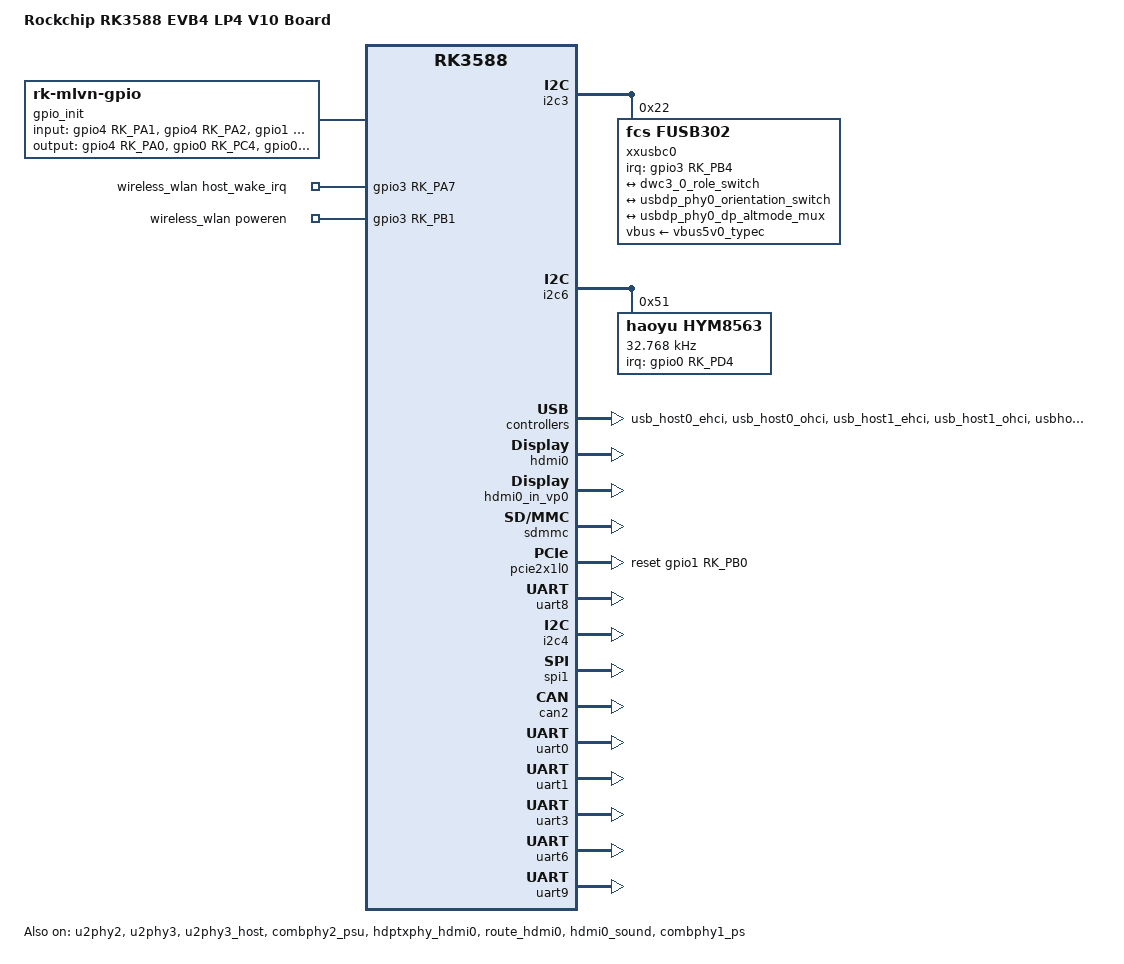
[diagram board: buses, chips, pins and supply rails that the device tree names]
// SPDX-License-Identifier: (GPL-2.0+ OR MIT)
/*
 * Copyright (c) 2021 Rockchip Electronics Co., Ltd.
 *
 */

/dts-v1/;

#include "rk3588-evb4-lp4.dtsi"
#include "rk3588-linux.dtsi"
#include "rk3588-evb4-ov8856-ov13855.dtsi"

/ {
	model = "Rockchip RK3588 EVB4 LP4 V10 Board";
	compatible = "rockchip,rk3588-evb4-lp4-v10", "rockchip,rk3588";

    gpio_init: gpio-init {
		status = "okay";
		compatible = "rk-mlvn-gpio";

		pinctrl-names = "default";
		pinctrl-0 = <&init_gpio>;

		input-gpio = <&gpio4 RK_PA1 GPIO_ACTIVE_HIGH>,
			     <&gpio4 RK_PA2 GPIO_ACTIVE_HIGH>,
			     <&gpio1 RK_PA7 GPIO_ACTIVE_HIGH>;

		output-gpio = <&gpio4 RK_PA0 GPIO_ACTIVE_HIGH>,
			      <&gpio0 RK_PC4 GPIO_ACTIVE_HIGH>,
			      <&gpio0 RK_PD5 GPIO_ACTIVE_HIGH>;

		//mlvn-gpio = <&gpio3 RK_PA4 GPIO_ACTIVE_HIGH>, /* HUB_RST */
		//	    <&gpio3 RK_PC5 GPIO_ACTIVE_LOW>; /*  */

		//mlvn-reset-gpio = <&gpio2 26 GPIO_ACTIVE_LOW>; /* MINIPCIE_RST */

		//breath-led = <&gpio1 RK_PC4 GPIO_ACTIVE_HIGH>;
	};


    wireless_bluetooth: wireless-bluetooth {
		compatible = "bluetooth-platdata";
		//clocks = <&hym8563>;
		//clock-names = "ext_clock";
		uart_rts_gpios = <&gpio3 RK_PA4 GPIO_ACTIVE_LOW>;
		pinctrl-names = "default", "rts_gpio";
		pinctrl-0 = <&uart8m1_rtsn>, <&bt_reset_gpio>, <&bt_wake_gpio>, <&bt_irq_gpio>;
		pinctrl-1 = <&uart8_gpios>;
		BT,reset_gpio    = <&gpio3 RK_PA6 GPIO_ACTIVE_HIGH>;
		BT,wake_gpio     = <&gpio3 RK_PA1 GPIO_ACTIVE_HIGH>;
		BT,wake_host_irq = <&gpio3 RK_PA0 GPIO_ACTIVE_HIGH>;
		status = "disabled";
	};

	wireless_wlan: wireless-wlan {
		compatible = "wlan-platdata";
		wifi_chip_type = "ap6275p";
		pinctrl-names = "default";
		pinctrl-0 = <&wifi_host_wake_irq>, <&wifi_poweren_gpio>;
		WIFI,host_wake_irq = <&gpio3 RK_PA7 GPIO_ACTIVE_HIGH>;
		WIFI,poweren_gpio = <&gpio3 RK_PB1 GPIO_ACTIVE_HIGH>;
		status = "okay";
	};
};

&vbus5v0_typec {
    gpio = <&gpio1 RK_PC6 GPIO_ACTIVE_HIGH>;
};

&vcc5v0_host {
    gpio = <&gpio0 RK_PA0 GPIO_ACTIVE_HIGH>;
};

&dp0 {
	status = "disabled";
};

&dp0_in_vp2 {
	status = "disabled";
};

&dsi0 {
	status = "disabled";
};

&dsi0_in_vp2 {
	status = "disabled";
};

&dsi0_in_vp3 {
	status = "disabled";
};

&i2c8 {
    status = "disabled";
    /delete-node/ usbc0;
    /delete-node/ usbc0_role_sw;
    /delete-node/ usbc0_orien_sw;
    /delete-node/ dp_altmode_mux;
};

&i2c3 {
	status = "okay";
	pinctrl-names = "default";
	pinctrl-0 = <&i2c3m0_xfer>;

	xxusbc0: fusb302@22 {
		compatible = "fcs,fusb302";
		reg = <0x22>;
		interrupt-parent = <&gpio3>;
		interrupts = <RK_PB4 IRQ_TYPE_LEVEL_LOW>;
		pinctrl-names = "default";
		pinctrl-0 = <&usbc0_int>;
		vbus-supply = <&vbus5v0_typec>;
		status = "okay";

		ports {
			#address-cells = <1>;
			#size-cells = <0>;

			port@0 {
				reg = <0>;
				xxusbc0_role_sw: endpoint@0 {
					remote-endpoint = <&dwc3_0_role_switch>;
				};
			};
		};

		xxusb_con: connector {
			compatible = "usb-c-connector";
			label = "USB-C";
			data-role = "dual";
			power-role = "dual";
			try-power-role = "sink";
			op-sink-microwatt = <1000000>;
			sink-pdos =
				<PDO_FIXED(5000, 1000, PDO_FIXED_USB_COMM)>;
			source-pdos =
				<PDO_FIXED(5000, 3000, PDO_FIXED_USB_COMM)>;

			altmodes {
				#address-cells = <1>;
				#size-cells = <0>;

				altmode@0 {
					reg = <0>;
					svid = <0xff01>;
					vdo = <0xffffffff>;
				};
			};

			ports {
				#address-cells = <1>;
				#size-cells = <0>;

				port@0 {
					reg = <0>;
					xxusbc0_orien_sw: endpoint {
						remote-endpoint = <&usbdp_phy0_orientation_switch>;
					};
				};

				port@1 {
					reg = <1>;
					xxdp_altmode_mux: endpoint {
						remote-endpoint = <&usbdp_phy0_dp_altmode_mux>;
					};
				};
			};
		};
	};
};

&i2c6 {
    hym8563: hym8563@51 {
		compatible = "haoyu,hym8563";
		reg = <0x51>;
		#clock-cells = <0>;
		clock-frequency = <32768>;
		clock-output-names = "hym8563";
		pinctrl-names = "default";
		pinctrl-0 = <&hym8563_int>;
		interrupt-parent = <&gpio0>;
		interrupts = <RK_PD4 IRQ_TYPE_LEVEL_LOW>;
		wakeup-source;
	};
};

&mipi_dcphy0 {
	status = "disabled";
};

&pcie30phy {
	status = "disabled";
};

&pcie3x4 {
	status = "disabled";
};


&pinctrl{
    hym8563 {
		hym8563_int: hym8563-int {
			rockchip,pins = <0 RK_PD4 RK_FUNC_GPIO &pcfg_pull_up>;
		};
	};

	gpio_init {
		init_gpio: init-gpio {
			rockchip,pins =
				<0 RK_PC4 RK_FUNC_GPIO &pcfg_pull_up_drv_level_15>,
				<4 RK_PA0 RK_FUNC_GPIO &pcfg_pull_up_drv_level_15>;
		};
	};
    	usb {
		vcc5v0_host_en: vcc5v0-host-en {
			rockchip,pins = <0 RK_PA0 RK_FUNC_GPIO &pcfg_pull_none>;
		};
	};

	usb-typec {
		usbc0_int: usbc0-int {
			rockchip,pins = <3 RK_PB4 RK_FUNC_GPIO &pcfg_pull_up>;
		};

		typec5v_pwren: typec5v-pwren {
			rockchip,pins = <1 RK_PC6 RK_FUNC_GPIO &pcfg_pull_none>;
		};
	};

	wireless-bluetooth {
		uart8_gpios: uart8-gpios {
			rockchip,pins = <3 RK_PA4 RK_FUNC_GPIO &pcfg_pull_none>;
		};

		bt_reset_gpio: bt-reset-gpio {
			rockchip,pins = <3 RK_PA6 RK_FUNC_GPIO &pcfg_pull_none>;
		};

		bt_wake_gpio: bt-wake-gpio {
			rockchip,pins = <3 RK_PA1 RK_FUNC_GPIO &pcfg_pull_none>;
		};

		bt_irq_gpio: bt-irq-gpio {
			rockchip,pins = <3 RK_PA0 RK_FUNC_GPIO &pcfg_pull_none>;
		};
	};

	wireless-wlan {
		wifi_host_wake_irq: wifi-host-wake-irq {
			rockchip,pins = <3 RK_PA7 RK_FUNC_GPIO &pcfg_pull_down>;
		};

		wifi_poweren_gpio: wifi-poweren-gpio {
			rockchip,pins = <3 RK_PB1 RK_FUNC_GPIO &pcfg_pull_up>;
		};
	};
};

&pwm3 {
	status = "disabled";
};

&pwm14 {
	pinctrl-0 = <&pwm14m1_pins>;
	status = "disabled";
};

&route_dsi0 {
	status = "disabled";
	connect = <&vp3_out_dsi0>;
};

&u2phy2 {
	status = "okay";
};

&u2phy3 {
	status = "okay";
};

&u2phy3_host {
	status = "okay";
};

&usb_host0_ehci {
	status = "okay";
};

&usb_host0_ohci {
	status = "okay";
};

&usb_host1_ehci {
	status = "okay";
};

&usb_host1_ohci {
	status = "okay";
};

&u2phy0_otg {
	rockchip,typec-vbus-det;
};

&usbhost3_0 {
	status = "okay";
};

&usbhost_dwc3_0 {
	status = "okay";
};

&combphy2_psu {
	status = "okay";
};


&hdmi0 {
	//enable-gpios = <&gpio4 RK_PB1 GPIO_ACTIVE_HIGH>;
	pinctrl-0 = <&hdmim0_tx0_cec &hdmim0_tx0_hpd &hdmim0_tx0_scl &hdmim0_tx0_sda>;
	status = "okay";
};

&hdmi0_in_vp0 {
	status = "okay";
};

&hdptxphy_hdmi0 {
	status = "okay";
};

&route_hdmi0 {
	status = "okay";
	connect = <&vp0_out_hdmi0>;
};

&hdmi0_sound {
	status = "okay";
};

&sdmmc {
	status = "okay";
};

&combphy1_ps {
	status = "okay";
};

&pcie2x1l0 {
	reset-gpios = <&gpio1 RK_PB0 GPIO_ACTIVE_HIGH>;
	status = "okay";
};

&uart8 {
	status = "disabled";
	pinctrl-names = "default";
	pinctrl-0 = <&uart8m1_xfer &uart8m1_ctsn>;
};

&i2c4 {
	status = "okay";
	pinctrl-names = "default";
	pinctrl-0 = <&i2c4m3_xfer>;
};



&spi1 {
	pinctrl-names = "default";
	pinctrl-0 = <&spi1m1_cs0 &spi1m1_pins>;
	num-cs = <1>;
	status = "okay";
};

&can2 {
	status = "okay";
};

&uart0 {
	pinctrl-names = "default";
	pinctrl-0 = <&uart0m2_xfer>;
	status = "okay";
};

&uart1 {
	status = "okay";
};

&uart3 {
	pinctrl-names = "default";
	pinctrl-0 = <&uart3m2_xfer>;
	status = "okay";
};

&uart6 {
	status = "okay";
};

&uart8 {
	pinctrl-names = "default";
	pinctrl-0 = <&uart8m0_xfer>;
	status = "okay";
};

&uart9 {
	status = "okay";
};

&leds {
   /delete-node/ work_led;
};

&gmac1 {
    status = "disabled";
};

&usbdrd_dwc3_0{
    // /delete-property/ dr_mode;
    // maximum-speed = "high-speed";
    // phys = <&u2phy0_otg>;
    // phy-names = "usb2-phy";
};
